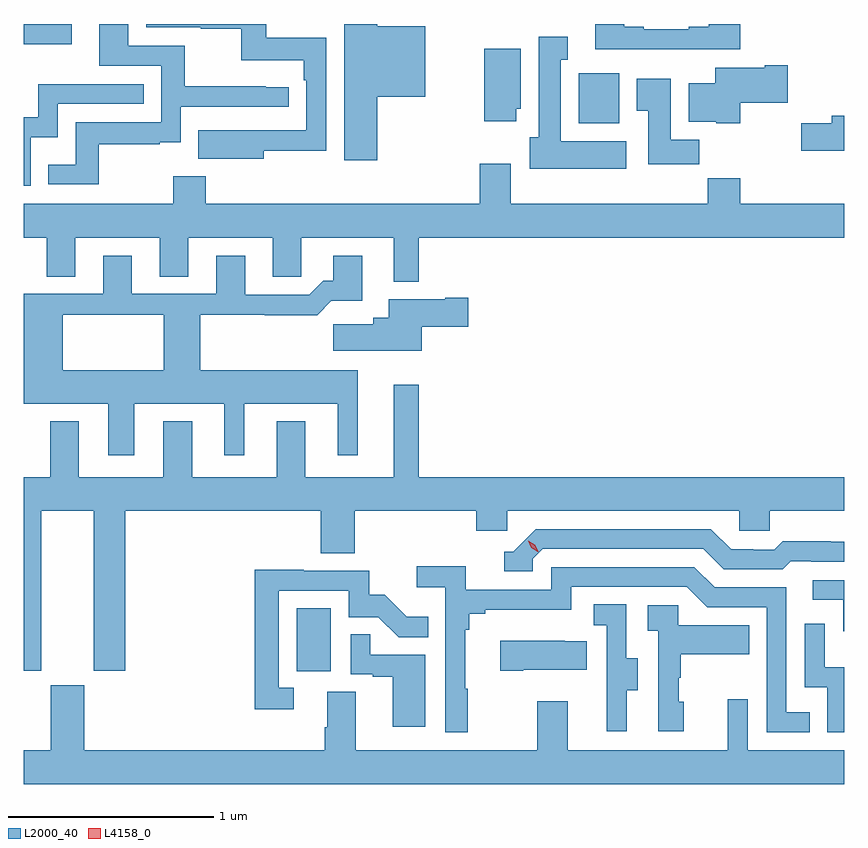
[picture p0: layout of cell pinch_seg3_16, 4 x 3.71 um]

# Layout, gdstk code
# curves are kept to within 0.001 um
import gdstk
lib = gdstk.Library(unit=1e-6, precision=1e-09)
def R(c, l, rs):  # rectangles x0, y0, x1, y1
    for r in rs: c.add(gdstk.rectangle(r[:2], r[2:], *l))
def P(c, l, *ps):  # polygons
    for p in ps: c.add(gdstk.Polygon(p, *l))
L2000_40 = (2000, 40)
L4158_0 = (4158, 0)

pinch_seg3_16 = lib.new_cell('pinch_seg3_16')
R(pinch_seg3_16, L2000_40, [(1129.91,737.43,1130.074,737.737), (1131.284,740.102,1131.481,740.344)])
P(pinch_seg3_16, L2000_40, [(1129.747,739.966),(1130.052,739.966),(1130.052,740.518),(1129.759,740.518),(1129.759,740.585),(1129.176,740.585),(1129.176,740.568),(1129.441,740.568),(1129.441,740.563),(1129.638,740.563),(1129.638,740.408),(1129.943,740.408),(1129.943,740.312),(1129.956,740.312),(1129.956,740.067),(1129.643,740.067),(1129.643,740.068),(1129.429,740.068),(1129.429,739.928),(1129.747,739.928)],
  [(1128.811,740.585),(1128.714,740.585),(1128.714,740.583),(1128.578,740.583),(1128.578,740.487),(1128.606,740.487),(1128.606,740.486),(1128.811,740.486)],
  [(1128.943,739.998),(1129.241,739.998),(1129.241,740.009),(1129.344,740.009),(1129.344,740.181),(1129.87,740.181),(1129.87,740.277),(1129.757,740.277),(1129.757,740.282),(1129.364,740.282),(1129.364,740.478),(1129.087,740.478),(1129.087,740.585),(1128.947,740.585),(1128.947,740.382),(1129.248,740.382),(1129.248,740.106),(1128.832,740.106),(1128.832,739.9),(1128.697,739.9),(1128.697,739.803),(1128.943,739.803)],
  [(1130.302,740.231),(1130.536,740.231),(1130.536,740.575),(1130.302,740.575),(1130.302,740.585),(1130.141,740.585),(1130.141,739.92),(1130.302,739.92)],
  [(1132.07,740.585),(1131.917,740.585),(1131.917,740.572),(1131.821,740.572),(1131.821,740.559),(1131.601,740.559),(1131.601,740.572),(1131.505,740.572),(1131.505,740.585),(1131.365,740.585),(1131.365,740.462),(1132.07,740.462)],
  [(1131.514,740.014),(1131.196,740.014),(1131.196,740.411),(1131.229,740.411),(1131.229,740.524),(1131.089,740.524),(1131.089,740.034),(1131.044,740.034),(1131.044,739.88),(1131.514,739.88)],
  [(1130.98,740.172),(1131.001,740.172),(1131.001,740.464),(1130.822,740.464),(1130.822,740.112),(1130.98,740.112)],
  [(1132.072,740.201),(1132.303,740.201),(1132.303,740.384),(1132.19,740.384),(1132.19,740.371),(1131.95,740.371),(1131.95,740.296),(1131.821,740.296),(1131.821,740.108),(1131.954,740.108),(1131.954,740.102),(1132.072,740.102)],
  [(1131.872,740.02),(1131.733,740.02),(1131.733,740.317),(1131.566,740.317),(1131.566,740.161),(1131.623,740.161),(1131.623,739.902),(1131.872,739.902)],
  [(1128.612,740.033),(1128.744,740.033),(1128.744,740.196),(1129.163,740.196),(1129.163,740.292),(1128.648,740.292),(1128.648,740.131),(1128.578,740.131),(1128.578,739.797),(1128.612,739.797)],
  [(1132.578,740.138),(1132.517,740.138),(1132.517,740.102),(1132.368,740.102),(1132.368,739.967),(1132.578,739.967)],
  [(1130.503,739.544),(1132.578,739.544),(1132.578,739.708),(1132.07,739.708),(1132.07,739.832),(1131.913,739.832),(1131.913,739.708),(1130.953,739.708),(1130.953,739.903),(1130.801,739.903),(1130.801,739.708),(1129.466,739.708),(1129.466,739.843),(1129.306,739.843),(1129.306,739.708),(1128.578,739.708),(1128.578,739.544),(1128.689,739.544),(1128.689,739.354),(1128.829,739.354),(1128.829,739.544),(1129.241,739.544),(1129.241,739.354),(1129.381,739.354),(1129.381,739.544),(1129.793,739.544),(1129.793,739.354),(1129.932,739.354),(1129.932,739.544),(1130.381,739.544),(1130.381,739.328),(1130.503,739.328)],
  [(1128.989,738.734),(1128.989,738.483),(1129.117,738.483),(1129.117,738.734),(1129.556,738.734),(1129.556,738.483),(1129.654,738.483),(1129.654,738.734),(1130.108,738.734),(1130.108,738.483),(1130.206,738.483),(1130.206,738.898),(1129.439,738.898),(1129.439,739.168),(1129.753,739.168),(1129.753,739.166),(1130.009,739.166),(1130.078,739.235),(1130.227,739.235),(1130.227,739.456),(1130.087,739.456),(1130.087,739.333),(1130.038,739.333),(1129.971,739.266),(1129.657,739.266),(1129.657,739.456),(1129.517,739.456),(1129.517,739.269),(1129.105,739.269),(1129.105,739.456),(1128.965,739.456),(1128.965,739.269),(1128.578,739.269),(1128.578,738.898),(1128.769,738.898),(1128.769,739.168),(1129.261,739.168),(1129.261,738.898),(1128.578,738.898),(1128.578,738.734)],
  [(1130.518,739.109),(1130.746,739.109),(1130.746,739.251),(1130.633,739.251),(1130.633,739.243),(1130.357,739.243),(1130.357,739.153),(1130.282,739.153),(1130.282,739.121),(1130.088,739.121),(1130.088,738.992),(1130.518,738.992)],
  [(1128.664,738.212),(1128.92,738.212),(1128.92,737.433),(1129.073,737.433),(1129.073,738.212),(1130.027,738.212),(1130.027,738.004),(1130.192,738.004),(1130.192,738.212),(1130.783,738.212),(1130.783,738.114),(1130.934,738.114),(1130.934,738.212),(1132.065,738.212),(1132.065,738.114),(1132.215,738.114),(1132.215,738.212),(1132.578,738.212),(1132.578,738.376),(1130.503,738.376),(1130.503,738.826),(1130.381,738.826),(1130.381,738.376),(1129.951,738.376),(1129.951,738.649),(1129.811,738.649),(1129.811,738.376),(1129.399,738.376),(1129.399,738.649),(1129.259,738.649),(1129.259,738.376),(1128.847,738.376),(1128.847,738.649),(1128.707,738.649),(1128.707,738.376),(1128.578,738.376),(1128.578,737.433),(1128.664,737.433)],
  [(1131.06,737.979),(1131.108,738.027),(1131.891,738.027),(1131.99,737.928),(1132.279,737.928),(1132.318,737.967),(1132.417,737.967),(1132.417,737.964),(1132.578,737.964),(1132.578,738.061),(1132.512,738.061),(1132.512,738.064),(1132.279,738.064),(1132.237,738.021),(1132.134,738.021),(1132.134,738.024),(1132.027,738.024),(1131.928,738.123),(1131.075,738.123),(1130.964,738.012),(1130.921,738.012),(1130.921,737.916),(1131.06,737.916)],
  [(1130.743,737.345),(1130.731,737.345),(1130.731,737.633),(1130.75,737.633),(1130.75,737.71),(1130.827,737.71),(1130.827,737.729),(1131.246,737.729),(1131.246,737.841),(1131.81,737.841),(1131.909,737.742),(1132.2,737.742),(1132.2,737.133),(1132.409,737.133),(1132.409,737.229),(1132.296,737.229),(1132.296,737.838),(1131.946,737.838),(1131.847,737.937),(1131.15,737.937),(1131.15,737.826),(1130.732,737.826),(1130.732,737.942),(1130.493,737.942),(1130.493,737.84),(1130.634,737.84),(1130.634,737.133),(1130.743,737.133)],
  [(1129.894,737.349),(1129.821,737.349),(1129.821,737.823),(1130.163,737.823),(1130.163,737.694),(1130.307,737.694),(1130.405,737.596),(1130.549,737.596),(1130.549,737.695),(1130.445,737.695),(1130.338,737.802),(1130.262,737.802),(1130.262,737.919),(1129.943,737.919),(1129.943,737.924),(1129.705,737.924),(1129.705,737.244),(1129.894,737.244)],
  [(1132.578,737.874),(1132.425,737.874),(1132.425,737.778),(1132.572,737.778),(1132.572,737.625),(1132.578,737.625)],
  [(1131.517,737.338),(1131.571,737.338),(1131.571,737.493),(1131.516,737.493),(1131.516,737.756),(1131.357,737.756),(1131.357,737.653),(1131.42,737.653),(1131.42,737.349),(1131.419,737.349),(1131.419,737.136),(1131.517,737.136)],
  [(1131.796,737.28),(1131.771,737.28),(1131.771,737.399),(1131.781,737.399),(1131.781,737.513),(1132.115,737.513),(1132.115,737.653),(1131.768,737.653),(1131.768,737.751),(1131.621,737.751),(1131.621,737.627),(1131.672,737.627),(1131.672,737.136),(1131.796,737.136)],
  [(1132.578,737.45),(1132.482,737.45),(1132.482,737.662),(1132.386,737.662),(1132.386,737.352),(1132.494,737.352),(1132.494,737.133),(1132.578,737.133)],
  [(1130.536,737.511),(1130.267,737.511),(1130.267,737.609),(1130.172,737.609),(1130.172,737.415),(1130.279,737.415),(1130.279,737.403),(1130.378,737.403),(1130.378,737.16),(1130.536,737.16)],
  [(1131.013,737.438),(1131.323,737.438),(1131.323,737.575),(1131.215,737.575),(1131.215,737.578),(1130.901,737.578),(1130.901,737.431),(1131.013,737.431)],
  [(1132.578,737.044),(1132.107,737.044),(1132.107,737.293),(1132.01,737.293),(1132.01,737.044),(1131.229,737.044),(1131.229,737.284),(1131.082,737.284),(1131.082,737.044),(1130.197,737.044),(1130.197,737.33),(1130.057,737.33),(1130.057,737.156),(1130.045,737.156),(1130.045,737.044),(1128.874,737.044),(1128.874,737.361),(1128.71,737.361),(1128.71,737.044),(1128.578,737.044),(1128.578,736.88),(1132.578,736.88)])
P(pinch_seg3_16, L4158_0, [(1131.084,738.013),(1131.053,738.032),(1131.037,738.065),(1131.037,738.065),(1131.037,738.065),(1131.068,738.046),(1131.085,738.014),(1131.085,738.013)])

lib.write_gds('pinch_seg3_16.gds')
